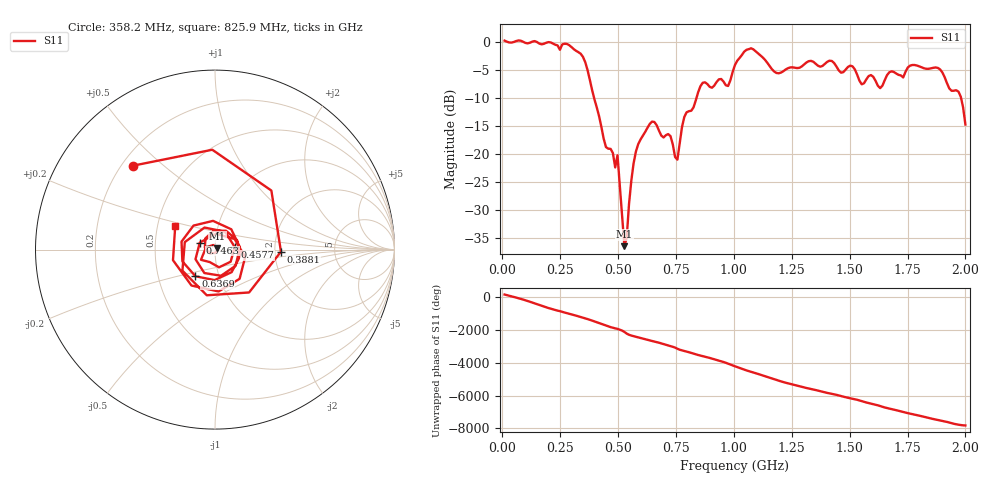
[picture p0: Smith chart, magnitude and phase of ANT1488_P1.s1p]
!Created with skrf (http://scikit-rf.org).
# Hz S RI R 50.0
!freq ReS11 ImS11
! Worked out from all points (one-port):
!   201 points, 10 MHz to 2 GHz, reference 50 ohm
!   lowest |S11| = -36.5 dB at 527.4 MHz (marker M1), VSWR 1.03, Z = 51.3 + j0.752 ohm
!   |S11| at or under -10 dB: 396.2 MHz to 839.1 MHz (442.9 MHz wide, 71.7 % of centre); 1.981 GHz to end of sweep
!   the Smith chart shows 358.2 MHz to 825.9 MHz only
!   S11 on the Smith chart (normalised r, x): 358.2 MHz: 0.24, +0.40; 388.1 MHz: 2.16, -0.06; 457.8 MHz: 1.25, +0.04; 636.9 MHz: 0.77, -0.24; 746.3 MHz: 0.84, +0.07; 825.9 MHz: 0.62, +0.18
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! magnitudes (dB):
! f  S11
! 10 MHz  0.2
! 258.8 MHz  -0.5
! 358.2 MHz  -3.7
! 388.1 MHz  -8.7
! 457.8 MHz  -19.1
! 487.6 MHz  -22.5
! 497.6 MHz  -20.3
! 507.5 MHz  -25.8
! 527.4 MHz  -36.5
! 577.1 MHz  -19.6
! 636.9 MHz  -14.7
! 726.4 MHz  -16.9
! 746.3 MHz  -20.6
! 756.2 MHz  -21.1
! 786.1 MHz  -13.4
! 825.9 MHz  -11.7
! 865.7 MHz  -7.3
! 975.1 MHz  -7.9
! 1.005 GHz  -4.2
! 1.075 GHz  -1.2
! 1.184 GHz  -5.6
! 1.254 GHz  -4.6
! 1.502 GHz  -4.3
! 1.632 GHz  -8.3
! 1.751 GHz  -4.6
! 1.891 GHz  -5.0
! 1.97 GHz  -8.9
! 2 GHz  -14.8
